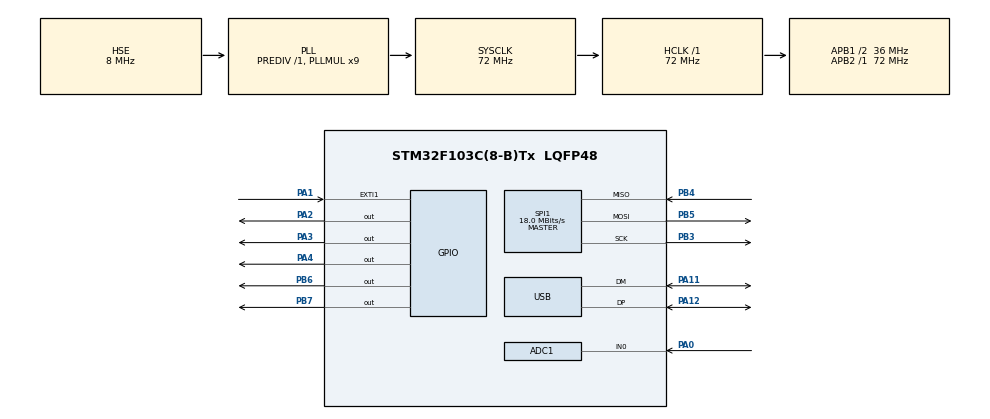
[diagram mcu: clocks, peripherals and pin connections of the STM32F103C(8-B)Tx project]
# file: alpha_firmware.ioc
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ADC1.Channel-0\#ChannelRegularConversion=ADC_CHANNEL_0
ADC1.ContinuousConvMode=ENABLE
ADC1.NbrOfConversionFlag=1
ADC1.Rank-0\#ChannelRegularConversion=1
ADC1.SamplingTime-0\#ChannelRegularConversion=ADC_SAMPLETIME_1CYCLE_5
ADC1.master=1
Dma.ADC1.0.Direction=DMA_PERIPH_TO_MEMORY
Dma.ADC1.0.Instance=DMA1_Channel1
Dma.ADC1.0.MemDataAlignment=DMA_MDATAALIGN_HALFWORD
Dma.ADC1.0.MemInc=DMA_MINC_ENABLE
Dma.ADC1.0.Mode=DMA_CIRCULAR
Dma.ADC1.0.PeriphDataAlignment=DMA_PDATAALIGN_HALFWORD
Dma.ADC1.0.PeriphInc=DMA_PINC_DISABLE
Dma.ADC1.0.Priority=DMA_PRIORITY_VERY_HIGH
Dma.Request0=ADC1
Mcu.Family=STM32F1
Mcu.Name=STM32F103C(8-B)Tx
Mcu.Package=LQFP48
NVIC.DMA1_Channel1_IRQn=true\:0\:0\:false\:false\:true\:false\:true
NVIC.EXTI1_IRQn=true\:0\:0\:false\:false\:true\:true\:true
NVIC.PriorityGroup=NVIC_PRIORITYGROUP_4
NVIC.USB_HP_CAN1_TX_IRQn=true\:0\:0\:false\:false\:true\:true\:true
NVIC.USB_LP_CAN1_RX0_IRQn=true\:0\:0\:false\:false\:true\:true\:true
PA0-WKUP.Signal=SharedAnalog_PA0
PA1.Signal=GPXTI1
PA11.Mode=Device
PA11.Signal=USB_DM
PA12.Mode=Device
PA12.Signal=USB_DP
PA13.Mode=Serial_Wire
PA13.Signal=SYS_JTMS-SWDIO
PA14.Mode=Serial_Wire
PA14.Signal=SYS_JTCK-SWCLK
PA2.Signal=GPIO_Output
PA3.Signal=GPIO_Output
PA4.Signal=GPIO_Output
PB3.Mode=Full_Duplex_Master
PB3.Signal=SPI1_SCK
PB4.Mode=Full_Duplex_Master
PB4.Signal=SPI1_MISO
PB5.Mode=Full_Duplex_Master
PB5.Signal=SPI1_MOSI
PB6.Signal=GPIO_Output
PB7.Signal=GPIO_Output
PC14-OSC32_IN.Mode=LSE-External-Oscillator
PC14-OSC32_IN.Signal=RCC_OSC32_IN
PC15-OSC32_OUT.Mode=LSE-External-Oscillator
PC15-OSC32_OUT.Signal=RCC_OSC32_OUT
PD0-OSC_IN.Mode=HSE-External-Oscillator
PD0-OSC_IN.Signal=RCC_OSC_IN
PD1-OSC_OUT.Mode=HSE-External-Oscillator
PD1-OSC_OUT.Signal=RCC_OSC_OUT
ProjectManager.HeapSize=0x200
ProjectManager.StackSize=0x400
ProjectManager.TargetToolchain=STM32CubeIDE
RCC.ADCPresc=RCC_ADCPCLK2_DIV6
RCC.AHBFreq_Value=72000000
RCC.APB1CLKDivider=RCC_HCLK_DIV2
RCC.APB1Freq_Value=36000000
RCC.APB1TimFreq_Value=72000000
RCC.APB2Freq_Value=72000000
RCC.APB2TimFreq_Value=72000000
RCC.HCLKFreq_Value=72000000
RCC.PLLMUL=RCC_PLL_MUL9
RCC.SYSCLKFreq_VALUE=72000000
RCC.SYSCLKSource=RCC_SYSCLKSOURCE_PLLCLK
RCC.USBFreq_Value=48000000
RCC.USBPrescaler=RCC_USBCLKSOURCE_PLL_DIV1_5
SH.SharedAnalog_PA0.0=GPIO_Analog
SH.SharedAnalog_PA0.1=ADC1_IN0,IN0
SPI1.BaudRatePrescaler=SPI_BAUDRATEPRESCALER_4
SPI1.CalculateBaudRate=18.0 MBits/s
SPI1.DataSize=SPI_DATASIZE_16BIT
SPI1.Direction=SPI_DIRECTION_2LINES
SPI1.Mode=SPI_MODE_MASTER
SPI1.VirtualType=VM_MASTER
USB_DEVICE.APP_RX_DATA_SIZE=16
USB_DEVICE.APP_TX_DATA_SIZE=16
USB_DEVICE.CLASS_NAME_FS=CDC
USB_DEVICE.USBD_MAX_STR_DESC_SIZ=256
USB_DEVICE.VirtualMode=Cdc
USB_DEVICE.VirtualModeFS=Cdc_FS
VP_USB_DEVICE_VS_USB_DEVICE_CDC_FS.Mode=CDC_FS
board=custom

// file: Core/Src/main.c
/* USER CODE BEGIN Header */
/**
  ******************************************************************************
  * @file           : main.c
  * @brief          : Main program body
  ******************************************************************************
  * @attention
  *
  * <h2><center>&copy; Copyright (c) 2020 STMicroelectronics.
  * All rights reserved.</center></h2>
  *
  * This software component is licensed by ST under BSD 3-Clause license,
  * the "License"; You may not use this file except in compliance with the
  * License. You may obtain a copy of the License at:
  *                        opensource.org/licenses/BSD-3-Clause
  *
  ******************************************************************************
  */
/* USER CODE END Header */
#include "main.h"
#include "usb_device.h"

/* USER CODE BEGIN PD */
#define True 1
#define False 0

#define Data_buf_lenth 4000
#define DMA_buf_size 40
#define DMA_half_buf_size (DMA_buf_size / 2)
#define number_half_bufSize (Data_buf_lenth / DMA_half_buf_size) //количество полоивин дма буффера в большом буффере

#define status_reading_tracer 9
#define status_reading_trigger 10
#define status_SENDING_Data 11
#define status_beReady_trigger 12
#define status_beReady_tracer 14
#define status_doNothing 13

#define PARSING 1
#define SET_GAIN 2
#define SET_TRIG_LEVEL 3
#define READING 4
#define READING_TRIG_mode 5
#define READING_TRACER_mode 6
#define SENDING_Data 7
/* USER CODE END PD */

ADC_HandleTypeDef hadc1;
DMA_HandleTypeDef hdma_adc1;

SPI_HandleTypeDef hspi1;

void SystemClock_Config(void);
static void MX_GPIO_Init(void);
static void MX_DMA_Init(void);
static void MX_ADC1_Init(void);
static void MX_SPI1_Init(void);
/* USER CODE BEGIN PFP */
void DAC_Write(uint16_t val)
{
  uint16_t dac_data = 0x7000 | (val&0x0FFF);
  uint8_t data[2];
  memcpy(&data, &dac_data, sizeof(data));
  HAL_GPIO_WritePin(GPIOB, GPIO_PIN_7, GPIO_PIN_RESET);
  HAL_SPI_Transmit(&hspi1, data, 1/*sizeof(data)*/, 0);
  HAL_GPIO_WritePin(GPIOB, GPIO_PIN_7, GPIO_PIN_SET);
}
/* USER CODE END PFP */

/* USER CODE BEGIN 0 */
uint16_t DMA_buffer[DMA_buf_size];
uint16_t Data_buffer[Data_buf_lenth];
uint8_t DMA_midIdx = DMA_half_buf_size;
uint8_t is_triggered = 0;
uint8_t data_req = False;
uint8_t data_resp = False;
uint8_t status = status_doNothing;

uint8_t ack = False;

uint16_t data_part_idx = 0;

uint8_t mode = 0;
uint8_t settings_changed = False;
uint8_t ready_to_send = False;
uint16_t adc_value = 0;
uint16_t new_trigger_level = 0;
uint16_t trigger_level = 3700;
uint16_t newGain = 0;
uint16_t gain = 0;
/* USER CODE END 0 */

int main(void)
{
  /* USER CODE BEGIN 1 */
	//status = status_beReady;
  /* USER CODE END 1 */

  /* MCU Configuration--------------------------------------------------------*/

  /* Reset of all peripherals, Initializes the Flash interface and the Systick. */
  HAL_Init();

  /* Configure the system clock */
  SystemClock_Config();

  /* Initialize all configured peripherals */
  MX_GPIO_Init();
  MX_DMA_Init();
  MX_ADC1_Init();
  MX_SPI1_Init();
  MX_USB_DEVICE_Init();
  /* USER CODE BEGIN 2 */

  HAL_ADCEx_Calibration_Start(&hadc1);
  HAL_ADC_Start(&hadc1);

  //uint16_t gain = 0, new_gain = 0;
  /*status = status_reading_trigger;
  					HAL_GPIO_WritePin(GPIOA, GPIO_PIN_3, GPIO_PIN_SET);
  					HAL_ADC_Start_DMA(&hadc1, (uint32_t*)&DMA_buffer, DMA_buf_size);
*/
  /*char Buf_[16] = "st1000g4095.";
  new_trigger_level = atoi(&Buf_[2]);
  			newGain = atoi(&Buf_[7]);
  			settings_changed = True;*/
  /* USER CODE END 2 */

  /* Infinite loop */
  /* USER CODE BEGIN WHILE */
  while (1)
  {
	  if (settings_changed) {
		  trigger_level = new_trigger_level;
		  DAC_Write(newGain);
		  gain = newGain;
		  settings_changed = False;
	  }
	  //release
	  while (status == status_reading_trigger) {
			  if((adc_value = HAL_ADC_GetValue(&hadc1)) > trigger_level) {
				  is_triggered = 1;
			  }
			  //is_triggered = 1;
	  }
	  if (status == status_SENDING_Data) {
		  while(CDC_Transmit_FS((uint8_t*)&Data_buffer, Data_buf_lenth * sizeof(uint16_t)) == USBD_BUSY);
		  while(ack != True);
		  HAL_GPIO_WritePin(GPIOA, GPIO_PIN_2, GPIO_PIN_RESET);
		  HAL_GPIO_WritePin(GPIOA, GPIO_PIN_3, GPIO_PIN_RESET);
		  //HAL_GPIO_WritePin(GPIOA, GPIO_PIN_4, GPIO_PIN_RESET);

		  for(int i = 0; i < Data_buf_lenth; i++)
		  			Data_buffer[i] = 2000;
		  ack = False;
		  status = status_doNothing;
		  is_triggered = 0;
		  data_part_idx = 0;
		  //HAL_GPIO_WritePin(GPIOA, GPIO_PIN_3, GPIO_PIN_SET); // set if do nothing
	  }

	  //debug
	  //HAL_Delay(100);
	  /*if (1) {
		  for(int i=0; i < Data_buf_lenth; i++)
		    {
		  	  //int j = i;// - rand() % 500;
		    	  //int x = (j*j*0.00002 + log(j+3));
		    	  //int x1 = exp(-fabs(j*0.01-3));
		    	  Data_buffer[i]= (uint16_t)((sin(i / 50.) + 1) * 2000) + rand()%100;
		    }
	  		  while(CDC_Transmit_FS((uint8_t*)&Data_buffer, Data_buf_lenth * sizeof(uint16_t)) == USBD_BUSY);
	  		  //HAL_GPIO_WritePin(GPIOA, GPIO_PIN_3, GPIO_PIN_SET); // set if do nothing
	  		while(ack != True);
	  		ack = False;
	  	}*/
    /* USER CODE END WHILE */

  }
}

void SystemClock_Config(void)
{
  RCC_OscInitTypeDef RCC_OscInitStruct = {0};
  RCC_ClkInitTypeDef RCC_ClkInitStruct = {0};
  RCC_PeriphCLKInitTypeDef PeriphClkInit = {0};

  /** Initializes the RCC Oscillators according to the specified parameters
  * in the RCC_OscInitTypeDef structure.
  */
  RCC_OscInitStruct.OscillatorType = RCC_OSCILLATORTYPE_HSE;
  RCC_OscInitStruct.HSEState = RCC_HSE_ON;
  RCC_OscInitStruct.HSEPredivValue = RCC_HSE_PREDIV_DIV1;
  RCC_OscInitStruct.HSIState = RCC_HSI_ON;
  RCC_OscInitStruct.PLL.PLLState = RCC_PLL_ON;
  RCC_OscInitStruct.PLL.PLLSource = RCC_PLLSOURCE_HSE;
  RCC_OscInitStruct.PLL.PLLMUL = RCC_PLL_MUL9;
  if (HAL_RCC_OscConfig(&RCC_OscInitStruct) != HAL_OK)
  {
    Error_Handler();
  }
  /** Initializes the CPU, AHB and APB buses clocks
  */
  RCC_ClkInitStruct.ClockType = RCC_CLOCKTYPE_HCLK|RCC_CLOCKTYPE_SYSCLK
                              |RCC_CLOCKTYPE_PCLK1|RCC_CLOCKTYPE_PCLK2;
  RCC_ClkInitStruct.SYSCLKSource = RCC_SYSCLKSOURCE_PLLCLK;
  RCC_ClkInitStruct.AHBCLKDivider = RCC_SYSCLK_DIV1;
  RCC_ClkInitStruct.APB1CLKDivider = RCC_HCLK_DIV2;
  RCC_ClkInitStruct.APB2CLKDivider = RCC_HCLK_DIV1;

  if (HAL_RCC_ClockConfig(&RCC_ClkInitStruct, FLASH_LATENCY_2) != HAL_OK)
  {
    Error_Handler();
  }
  PeriphClkInit.PeriphClockSelection = RCC_PERIPHCLK_ADC|RCC_PERIPHCLK_USB;
  PeriphClkInit.AdcClockSelection = RCC_ADCPCLK2_DIV6;
  PeriphClkInit.UsbClockSelection = RCC_USBCLKSOURCE_PLL_DIV1_5;
  if (HAL_RCCEx_PeriphCLKConfig(&PeriphClkInit) != HAL_OK)
  {
    Error_Handler();
  }
}

static void MX_ADC1_Init(void)
{

  ADC_ChannelConfTypeDef sConfig = {0};

  /** Common config
  */
  hadc1.Instance = ADC1;
  hadc1.Init.ScanConvMode = ADC_SCAN_DISABLE;
  hadc1.Init.ContinuousConvMode = ENABLE;
  hadc1.Init.DiscontinuousConvMode = DISABLE;
  hadc1.Init.ExternalTrigConv = ADC_SOFTWARE_START;
  hadc1.Init.DataAlign = ADC_DATAALIGN_RIGHT;
  hadc1.Init.NbrOfConversion = 1;
  if (HAL_ADC_Init(&hadc1) != HAL_OK)
  {
    Error_Handler();
  }
  /** Configure Regular Channel
  */
  sConfig.Channel = ADC_CHANNEL_0;
  sConfig.Rank = ADC_REGULAR_RANK_1;
  sConfig.SamplingTime = ADC_SAMPLETIME_1CYCLE_5;
  if (HAL_ADC_ConfigChannel(&hadc1, &sConfig) != HAL_OK)
  {
    Error_Handler();
  }

}

static void MX_SPI1_Init(void)
{

  /* SPI1 parameter configuration*/
  hspi1.Instance = SPI1;
  hspi1.Init.Mode = SPI_MODE_MASTER;
  hspi1.Init.Direction = SPI_DIRECTION_2LINES;
  hspi1.Init.DataSize = SPI_DATASIZE_16BIT;
  hspi1.Init.CLKPolarity = SPI_POLARITY_LOW;
  hspi1.Init.CLKPhase = SPI_PHASE_1EDGE;
  hspi1.Init.NSS = SPI_NSS_SOFT;
  hspi1.Init.BaudRatePrescaler = SPI_BAUDRATEPRESCALER_4;
  hspi1.Init.FirstBit = SPI_FIRSTBIT_MSB;
  hspi1.Init.TIMode = SPI_TIMODE_DISABLE;
  hspi1.Init.CRCCalculation = SPI_CRCCALCULATION_DISABLE;
  hspi1.Init.CRCPolynomial = 10;
  if (HAL_SPI_Init(&hspi1) != HAL_OK)
  {
    Error_Handler();
  }

}

static void MX_DMA_Init(void)
{

  /* DMA controller clock enable */
  __HAL_RCC_DMA1_CLK_ENABLE();

  /* DMA interrupt init */
  /* DMA1_Channel1_IRQn interrupt configuration */
  HAL_NVIC_SetPriority(DMA1_Channel1_IRQn, 0, 0);
  HAL_NVIC_EnableIRQ(DMA1_Channel1_IRQn);

}

static void MX_GPIO_Init(void)
{
  GPIO_InitTypeDef GPIO_InitStruct = {0};

  /* GPIO Ports Clock Enable */
  __HAL_RCC_GPIOC_CLK_ENABLE();
  __HAL_RCC_GPIOD_CLK_ENABLE();
  __HAL_RCC_GPIOA_CLK_ENABLE();
  __HAL_RCC_GPIOB_CLK_ENABLE();

  /*Configure GPIO pin Output Level */
  HAL_GPIO_WritePin(GPIOA, GPIO_PIN_2|GPIO_PIN_3|GPIO_PIN_4, GPIO_PIN_RESET);

  /*Configure GPIO pin Output Level */
  HAL_GPIO_WritePin(GPIOB, GPIO_PIN_6|GPIO_PIN_7, GPIO_PIN_RESET);

  /*Configure GPIO pin : PA1 */
  GPIO_InitStruct.Pin = GPIO_PIN_1;
  GPIO_InitStruct.Mode = GPIO_MODE_IT_RISING;
  GPIO_InitStruct.Pull = GPIO_NOPULL;
  HAL_GPIO_Init(GPIOA, &GPIO_InitStruct);

  /*Configure GPIO pins : PA2 PA3 PA4 */
  GPIO_InitStruct.Pin = GPIO_PIN_2|GPIO_PIN_3|GPIO_PIN_4;
  GPIO_InitStruct.Mode = GPIO_MODE_OUTPUT_PP;
  GPIO_InitStruct.Pull = GPIO_NOPULL;
  GPIO_InitStruct.Speed = GPIO_SPEED_FREQ_LOW;
  HAL_GPIO_Init(GPIOA, &GPIO_InitStruct);

  /*Configure GPIO pins : PB6 PB7 */
  GPIO_InitStruct.Pin = GPIO_PIN_6|GPIO_PIN_7;
  GPIO_InitStruct.Mode = GPIO_MODE_OUTPUT_PP;
  GPIO_InitStruct.Pull = GPIO_NOPULL;
  GPIO_InitStruct.Speed = GPIO_SPEED_FREQ_LOW;
  HAL_GPIO_Init(GPIOB, &GPIO_InitStruct);

  /* EXTI interrupt init*/
  HAL_NVIC_SetPriority(EXTI1_IRQn, 0, 0);
  HAL_NVIC_EnableIRQ(EXTI1_IRQn);

}

/* USER CODE BEGIN 4 */
void CDC_ReciveCallBack(uint8_t *Buf, uint32_t *Len) {
	switch(Buf[0]) {
		case 'a': {//ack
			HAL_GPIO_WritePin(GPIOA, GPIO_PIN_3, GPIO_PIN_SET);
			HAL_GPIO_WritePin(GPIOA, GPIO_PIN_3, GPIO_PIN_RESET);
			ack = True;
				break;
			}
		case 'b': {//begin
			if (status == status_doNothing) {
				if(Buf[1] == 't') {
					status = status_reading_trigger;
					HAL_GPIO_WritePin(GPIOA, GPIO_PIN_3, GPIO_PIN_SET);
					HAL_ADC_Start_DMA(&hadc1, (uint32_t*)&DMA_buffer, DMA_buf_size);
				}	else {
					status = status_beReady_tracer;
					HAL_GPIO_WritePin(GPIOA, GPIO_PIN_3, GPIO_PIN_SET);
				}

				//HAL_GPIO_TogglePin(GPIOA, GPIO_PIN_3);
				//HAL_GPIO_TogglePin(GPIOA, GPIO_PIN_3);
				break;
			}
		}
		case 'e': {//end
			status = status_doNothing;
			is_triggered = 0;
			//data_part_idx = 0;
			break;
		}
		case 's': {//settings
			//Buf[] = "st0000g0000"

			//char tr[5];
			//memcpy(&tr, Buf[2], 4);
			//tr[4] = '\0';
			//char g[5];
			//memcpy(&g, Buf[7], 4);
			//g[4] = '\0';
			//CDC_Transmit_FS(, 4);
			new_trigger_level = atoi(&Buf[2]);
			newGain = atoi(&Buf[7]);
			settings_changed = True;
			break;
		}
	}
}

void HAL_GPIO_EXTI_Callback(uint16_t GPIO_Pin) {
	if((GPIO_Pin == GPIO_PIN_1)&&(status == status_beReady_tracer)) //3.3 on PA1
		{
			status = status_reading_tracer;
			is_triggered = 1;
			HAL_ADC_Start_DMA(&hadc1, (uint32_t*)&DMA_buffer, DMA_buf_size);
			//HAL_GPIO_WritePin(GPIOA, GPIO_PIN_3 | GPIO_PIN_4, GPIO_PIN_RESET); //set 0 v on PA3
		}
		else
		{
			__NOP();
		}
}

 void HAL_ADC_ConvCpltCallback(ADC_HandleTypeDef* hadc) {
	data_part_idx += is_triggered;
	memcpy(&Data_buffer[data_part_idx * DMA_half_buf_size], &DMA_buffer[DMA_midIdx], DMA_half_buf_size * sizeof(uint16_t));
	if(data_part_idx >= number_half_bufSize) {//количество полоивин дма буффера в большом буффере
		HAL_ADC_Stop_DMA(&hadc1);
		HAL_GPIO_WritePin(GPIOA, GPIO_PIN_2, GPIO_PIN_SET);
		status = status_SENDING_Data;
	}
}

void HAL_ADC_ConvHalfCpltCallback(ADC_HandleTypeDef* hadc) {
	data_part_idx += is_triggered;
	memcpy(&Data_buffer[data_part_idx * DMA_half_buf_size], &DMA_buffer, DMA_half_buf_size * sizeof(uint16_t));
	if(data_part_idx >= number_half_bufSize) {
		HAL_ADC_Stop_DMA(&hadc1);
		HAL_GPIO_WritePin(GPIOA, GPIO_PIN_2, GPIO_PIN_SET);
		status = status_SENDING_Data;
	}
}
/* USER CODE END 4 */

void Error_Handler(void)
{
}

/************************ (C) COPYRIGHT STMicroelectronics *****END OF FILE****/
